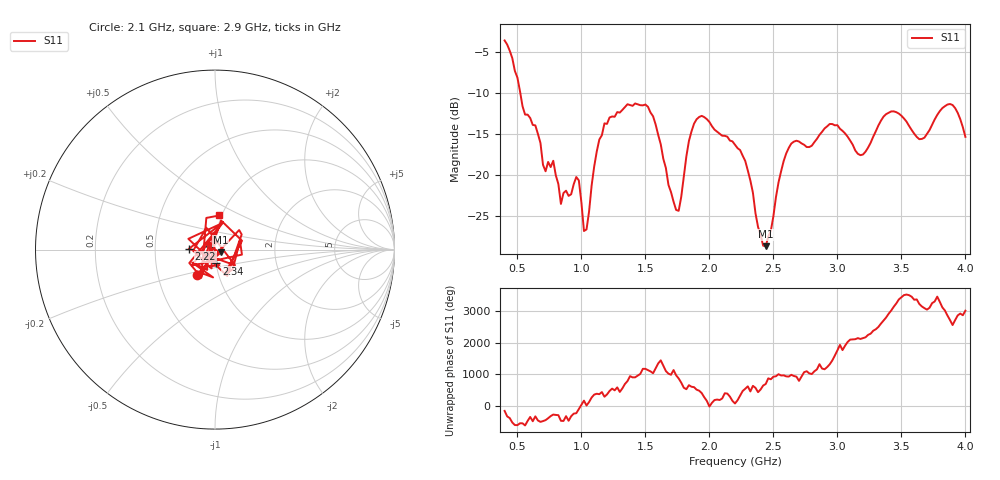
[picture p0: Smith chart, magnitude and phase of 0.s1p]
!Created with skrf (http://scikit-rf.org).
# Hz S RI R 50.0
!freq ReS11 ImS11
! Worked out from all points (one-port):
!   181 points, 400 MHz to 4 GHz, reference 50 ohm
!   lowest |S11| = -28.7 dB at 2.44 GHz (marker M1), VSWR 1.08, Z = 53.4 - j1.7 ohm
!   |S11| at or under -10 dB: 522.4 MHz to end of sweep
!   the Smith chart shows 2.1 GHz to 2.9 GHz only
!   S11 on the Smith chart (normalised r, x): 2.1 GHz: 0.79, -0.23; 2.22 GHz: 0.75, +0.01; 2.34 GHz: 1.00, -0.16; 2.9 GHz: 0.98, +0.39
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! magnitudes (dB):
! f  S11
! 400 MHz  -3.6
! 700 MHz  -18.8
! 780 MHz  -18.3
! 840 MHz  -23.6
! 860 MHz  -22.2
! 980 MHz  -20.7
! 1.02 GHz  -26.9
! 1.04 GHz  -26.7
! 1.14 GHz  -15.7
! 1.3 GHz  -12.4
! 1.52 GHz  -11.7
! 1.76 GHz  -24.4
! 1.9 GHz  -13.2
! 2.1 GHz  -15.2
! 2.2 GHz  -16.3
! 2.22 GHz  -16.7
! 2.34 GHz  -22.2
! 2.44 GHz  -28.7
! 2.58 GHz  -18.3
! 2.66 GHz  -15.9
! 2.9 GHz  -14.3
! 3.1 GHz  -15.8
! 3.2 GHz  -17.5
! 3.42 GHz  -12.3
! 3.56 GHz  -14.0
! 3.68 GHz  -15.5
! 3.88 GHz  -11.4
! 4 GHz  -15.4
